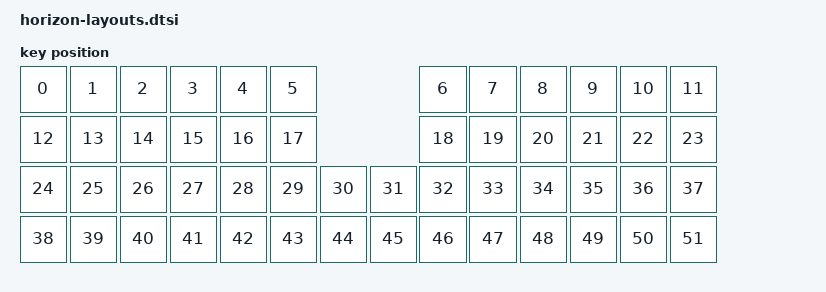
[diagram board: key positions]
#include <physical_layouts.dtsi>

/ {
    horizon_layout: horizon_layout {
        compatible = "zmk,physical-layout";
        display-name = "Horizon";
        transform = <&default_transform>;
        kscan = <&kscan0>;
        keys  //                     w   h    x    y     rot    rx    ry
            = <&key_physical_attrs 100 100    0    0       0     0     0>
            , <&key_physical_attrs 100 100  100    0       0     0     0>
            , <&key_physical_attrs 100 100  200    0       0     0     0>
            , <&key_physical_attrs 100 100  300    0       0     0     0>
            , <&key_physical_attrs 100 100  400    0       0     0     0>
            , <&key_physical_attrs 100 100  500    0       0     0     0>
            , <&key_physical_attrs 100 100  800    0       0     0     0>
            , <&key_physical_attrs 100 100  900    0       0     0     0>
            , <&key_physical_attrs 100 100 1000    0       0     0     0>
            , <&key_physical_attrs 100 100 1100    0       0     0     0>
            , <&key_physical_attrs 100 100 1200    0       0     0     0>
            , <&key_physical_attrs 100 100 1300    0       0     0     0>
            , <&key_physical_attrs 100 100    0  100       0     0     0>
            , <&key_physical_attrs 100 100  100  100       0     0     0>
            , <&key_physical_attrs 100 100  200  100       0     0     0>
            , <&key_physical_attrs 100 100  300  100       0     0     0>
            , <&key_physical_attrs 100 100  400  100       0     0     0>
            , <&key_physical_attrs 100 100  500  100       0     0     0>
            , <&key_physical_attrs 100 100  800  100       0     0     0>
            , <&key_physical_attrs 100 100  900  100       0     0     0>
            , <&key_physical_attrs 100 100 1000  100       0     0     0>
            , <&key_physical_attrs 100 100 1100  100       0     0     0>
            , <&key_physical_attrs 100 100 1200  100       0     0     0>
            , <&key_physical_attrs 100 100 1300  100       0     0     0>
            , <&key_physical_attrs 100 100    0  200       0     0     0>
            , <&key_physical_attrs 100 100  100  200       0     0     0>
            , <&key_physical_attrs 100 100  200  200       0     0     0>
            , <&key_physical_attrs 100 100  300  200       0     0     0>
            , <&key_physical_attrs 100 100  400  200       0     0     0>
            , <&key_physical_attrs 100 100  500  200       0     0     0>
            , <&key_physical_attrs 100 100  600  200       0     0     0>
            , <&key_physical_attrs 100 100  700  200       0     0     0>
            , <&key_physical_attrs 100 100  800  200       0     0     0>
            , <&key_physical_attrs 100 100  900  200       0     0     0>
            , <&key_physical_attrs 100 100 1000  200       0     0     0>
            , <&key_physical_attrs 100 100 1100  200       0     0     0>
            , <&key_physical_attrs 100 100 1200  200       0     0     0>
            , <&key_physical_attrs 100 100 1300  200       0     0     0>
            , <&key_physical_attrs 100 100    0  300       0     0     0>
            , <&key_physical_attrs 100 100  100  300       0     0     0>
            , <&key_physical_attrs 100 100  200  300       0     0     0>
            , <&key_physical_attrs 100 100  300  300       0     0     0>
            , <&key_physical_attrs 100 100  400  300       0     0     0>
            , <&key_physical_attrs 100 100  500  300       0     0     0>
            , <&key_physical_attrs 100 100  600  300       0     0     0>
            , <&key_physical_attrs 100 100  700  300       0     0     0>
            , <&key_physical_attrs 100 100  800  300       0     0     0>
            , <&key_physical_attrs 100 100  900  300       0     0     0>
            , <&key_physical_attrs 100 100 1000  300       0     0     0>
            , <&key_physical_attrs 100 100 1100  300       0     0     0>
            , <&key_physical_attrs 100 100 1200  300       0     0     0>
            , <&key_physical_attrs 100 100 1300  300       0     0     0>
            ;
    };
};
